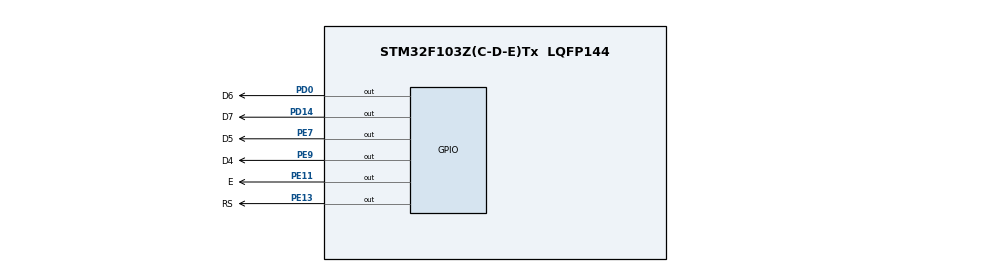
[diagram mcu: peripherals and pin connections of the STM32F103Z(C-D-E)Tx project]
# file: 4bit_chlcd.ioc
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Mcu.Family=STM32F1
Mcu.Name=STM32F103Z(C-D-E)Tx
Mcu.Package=LQFP144
NVIC.PriorityGroup=NVIC_PRIORITYGROUP_4
PA13.Mode=JTAG_5_pins
PA13.Signal=SYS_JTMS-SWDIO
PA14.Mode=JTAG_5_pins
PA14.Signal=SYS_JTCK-SWCLK
PA15.Mode=JTAG_5_pins
PA15.Signal=SYS_JTDI
PB3.Mode=JTAG_5_pins
PB3.Signal=SYS_JTDO-TRACESWO
PB4.Mode=JTAG_5_pins
PB4.Signal=SYS_NJTRST
PD0.GPIO_Label=D6
PD0.GPIO_Speed=GPIO_SPEED_FREQ_MEDIUM
PD0.Signal=GPIO_Output
PD14.GPIO_Label=D7
PD14.GPIO_Speed=GPIO_SPEED_FREQ_MEDIUM
PD14.Signal=GPIO_Output
PE11.GPIO_Label=E
PE11.GPIO_Speed=GPIO_SPEED_FREQ_MEDIUM
PE11.Signal=GPIO_Output
PE13.GPIO_Label=RS
PE13.GPIO_Speed=GPIO_SPEED_FREQ_MEDIUM
PE13.Signal=GPIO_Output
PE7.GPIO_Label=D5
PE7.GPIO_Speed=GPIO_SPEED_FREQ_MEDIUM
PE7.Signal=GPIO_Output
PE9.GPIO_Label=D4
PE9.GPIO_Speed=GPIO_SPEED_FREQ_MEDIUM
PE9.Signal=GPIO_Output
ProjectManager.HeapSize=0x200
ProjectManager.StackSize=0x400
ProjectManager.TargetToolchain=MDK-ARM V5
RCC.APB1Freq_Value=8000000
RCC.APB2Freq_Value=8000000
board=4bit_chlcd

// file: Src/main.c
/**
  ******************************************************************************
  * @file           : main.c
  * @brief          : Main program body
  ******************************************************************************
  ** This notice applies to any and all portions of this file
  * that are not between comment pairs USER CODE BEGIN and
  * USER CODE END. Other portions of this file, whether
  * inserted by the user or by software development tools
  * are owned by their respective copyright owners.
  *
  * COPYRIGHT(c) 2018 STMicroelectronics
  *
  * Redistribution and use in source and binary forms, with or without modification,
  * are permitted provided that the following conditions are met:
  *   1. Redistributions of source code must retain the above copyright notice,
  *      this list of conditions and the following disclaimer.
  *   2. Redistributions in binary form must reproduce the above copyright notice,
  *      this list of conditions and the following disclaimer in the documentation
  *      and/or other materials provided with the distribution.
  *   3. Neither the name of STMicroelectronics nor the names of its contributors
  *      may be used to endorse or promote products derived from this software
  *      without specific prior written permission.
  *
  * THIS SOFTWARE IS PROVIDED BY THE COPYRIGHT HOLDERS AND CONTRIBUTORS "AS IS"
  * AND ANY EXPRESS OR IMPLIED WARRANTIES, INCLUDING, BUT NOT LIMITED TO, THE
  * IMPLIED WARRANTIES OF MERCHANTABILITY AND FITNESS FOR A PARTICULAR PURPOSE ARE
  * DISCLAIMED. IN NO EVENT SHALL THE COPYRIGHT HOLDER OR CONTRIBUTORS BE LIABLE
  * FOR ANY DIRECT, INDIRECT, INCIDENTAL, SPECIAL, EXEMPLARY, OR CONSEQUENTIAL
  * DAMAGES (INCLUDING, BUT NOT LIMITED TO, PROCUREMENT OF SUBSTITUTE GOODS OR
  * SERVICES; LOSS OF USE, DATA, OR PROFITS; OR BUSINESS INTERRUPTION) HOWEVER
  * CAUSED AND ON ANY THEORY OF LIABILITY, WHETHER IN CONTRACT, STRICT LIABILITY,
  * OR TORT (INCLUDING NEGLIGENCE OR OTHERWISE) ARISING IN ANY WAY OUT OF THE USE
  * OF THIS SOFTWARE, EVEN IF ADVISED OF THE POSSIBILITY OF SUCH DAMAGE.
  *
  ******************************************************************************
  */
#include "main.h"
#include "stm32f1xx_hal.h"

/* USER CODE BEGIN PV */
/* Private variables ---------------------------------------------------------*/

/* USER CODE END PV */

void SystemClock_Config(void);
static void MX_GPIO_Init(void);

/* USER CODE BEGIN PFP */
/* Private function prototypes -----------------------------------------------*/

/* USER CODE END PFP */

void send_command(int CMD)
	// RS, HD7, HD6 , HD5, HD4, LD7, LD6 , LD5, LD4
{
		//RS
		if((CMD & 0x100) == 0x100)
			{
				HAL_GPIO_WritePin(GPIOE, RS_Pin, GPIO_PIN_SET);
			}
		else
			{
				HAL_GPIO_WritePin(GPIOE, RS_Pin, GPIO_PIN_RESET);
			}

		//High order D7
		if((CMD & 0x80) == 0x80)
			{
				HAL_GPIO_WritePin(GPIOD, D7_Pin, GPIO_PIN_SET);
			}
		else
			{
				HAL_GPIO_WritePin(GPIOD, D7_Pin, GPIO_PIN_RESET);
			}

		//High order D6
		if((CMD & 0x40) == 0x40)
			{
				HAL_GPIO_WritePin(GPIOD, D6_Pin, GPIO_PIN_SET);
			}
		else
			{
				HAL_GPIO_WritePin(GPIOD, D6_Pin, GPIO_PIN_RESET);
			}

		//High order D5
		if((CMD & 0x20) == 0x20)
			{
				HAL_GPIO_WritePin(GPIOE, D5_Pin, GPIO_PIN_SET);
			}
		else
			{
				HAL_GPIO_WritePin(GPIOE, D5_Pin, GPIO_PIN_RESET);
			}

		//High order D4
		if((CMD & 0x10) == 0x10)
			{
				HAL_GPIO_WritePin(GPIOE, D4_Pin, GPIO_PIN_SET);
			}
		else
			{
				HAL_GPIO_WritePin(GPIOE, D4_Pin, GPIO_PIN_RESET);
			}
		//Send Command by toggle EN pin
		HAL_Delay(1);
		HAL_GPIO_WritePin(GPIOE, E_Pin, GPIO_PIN_SET); //EN High
		HAL_Delay(2);
		HAL_GPIO_WritePin(GPIOE, E_Pin, GPIO_PIN_RESET); //EN Low
		HAL_Delay(10);

		//Turn off All GPIO Pins
		HAL_GPIO_WritePin(GPIOE, D5_Pin|D4_Pin|E_Pin|RS_Pin, GPIO_PIN_RESET);
		HAL_GPIO_WritePin(GPIOD, D7_Pin|D6_Pin, GPIO_PIN_RESET);

		//RS
		if((CMD & 0x100) == 0x100)
			{
				HAL_GPIO_WritePin(GPIOE, RS_Pin, GPIO_PIN_SET);
			}
		else
			{
				HAL_GPIO_WritePin(GPIOE, RS_Pin, GPIO_PIN_RESET);
			}

		//Low order D7
		if((CMD & 0x08) == 0x08)
			{
				HAL_GPIO_WritePin(GPIOD, D7_Pin, GPIO_PIN_SET);
			}
		else
			{
				HAL_GPIO_WritePin(GPIOD, D7_Pin, GPIO_PIN_RESET);
			}

		//High order D6
		if((CMD & 0x04) == 0x04)
			{
				HAL_GPIO_WritePin(GPIOD, D6_Pin, GPIO_PIN_SET);
			}
		else
			{
				HAL_GPIO_WritePin(GPIOD, D6_Pin, GPIO_PIN_RESET);
			}

		//High order D5
		if((CMD & 0x02) == 0x02)
			{
				HAL_GPIO_WritePin(GPIOE, D5_Pin, GPIO_PIN_SET);
			}
		else
			{
				HAL_GPIO_WritePin(GPIOE, D5_Pin, GPIO_PIN_RESET);
			}

		//High order D4
		if((CMD & 0x01) == 0x01)
			{
				HAL_GPIO_WritePin(GPIOE, D4_Pin, GPIO_PIN_SET);
			}
		else
			{
				HAL_GPIO_WritePin(GPIOE, D4_Pin, GPIO_PIN_RESET);
			}
		//Send Command by toggle EN pin
		HAL_Delay(1);
		HAL_GPIO_WritePin(GPIOE, E_Pin, GPIO_PIN_SET); //EN High
		HAL_Delay(2);
		HAL_GPIO_WritePin(GPIOE, E_Pin, GPIO_PIN_RESET); //EN Low
		HAL_Delay(10);

		//Turn off All GPIO Pins
		HAL_GPIO_WritePin(GPIOE, D5_Pin|D4_Pin|E_Pin|RS_Pin, GPIO_PIN_RESET);
		HAL_GPIO_WritePin(GPIOD, D7_Pin|D6_Pin, GPIO_PIN_RESET);

}

int main(void)
{

  /* MCU Configuration----------------------------------------------------------*/

  /* Reset of all peripherals, Initializes the Flash interface and the Systick. */
  HAL_Init();

  /* Configure the system clock */
  SystemClock_Config();

  /* Initialize all configured peripherals */
  MX_GPIO_Init();
  /* USER CODE BEGIN 2 */

		HAL_GPIO_WritePin(GPIOE, D5_Pin|D4_Pin|E_Pin|RS_Pin, GPIO_PIN_RESET);
		HAL_GPIO_WritePin(GPIOD, D7_Pin|D6_Pin, GPIO_PIN_RESET);

		HAL_Delay(500);
		send_command(0x33);
		send_command(0x32);
		//Function set (set font and lines)
		send_command(0x28);

		//On off control
		send_command(0x0E);

		//Entry mode set
		send_command(0x06);

		//Clear LCD
		send_command(0x01);

		//Return Home
		send_command(0x02);

		//Write text to lcd
		send_command(0x148); //H
		send_command(0x145); //E
		send_command(0x14C); //L
		send_command(0x14C); //L
		send_command(0x14F); //O
		send_command(0x1FE); //Space
		send_command(0x157); //W
		send_command(0x14F); //O
		send_command(0x152); //R
		send_command(0x14C); //L
		send_command(0x144); //D

  /* USER CODE END 2 */

  /* Infinite loop */
  while (1)
  {

  }

}

void SystemClock_Config(void)
{

  RCC_OscInitTypeDef RCC_OscInitStruct;
  RCC_ClkInitTypeDef RCC_ClkInitStruct;

    /**Initializes the CPU, AHB and APB busses clocks
    */
  RCC_OscInitStruct.OscillatorType = RCC_OSCILLATORTYPE_HSI;
  RCC_OscInitStruct.HSIState = RCC_HSI_ON;
  RCC_OscInitStruct.HSICalibrationValue = 16;
  RCC_OscInitStruct.PLL.PLLState = RCC_PLL_NONE;
  if (HAL_RCC_OscConfig(&RCC_OscInitStruct) != HAL_OK)
  {
    _Error_Handler(__FILE__, __LINE__);
  }

    /**Initializes the CPU, AHB and APB busses clocks
    */
  RCC_ClkInitStruct.ClockType = RCC_CLOCKTYPE_HCLK|RCC_CLOCKTYPE_SYSCLK
                              |RCC_CLOCKTYPE_PCLK1|RCC_CLOCKTYPE_PCLK2;
  RCC_ClkInitStruct.SYSCLKSource = RCC_SYSCLKSOURCE_HSI;
  RCC_ClkInitStruct.AHBCLKDivider = RCC_SYSCLK_DIV1;
  RCC_ClkInitStruct.APB1CLKDivider = RCC_HCLK_DIV1;
  RCC_ClkInitStruct.APB2CLKDivider = RCC_HCLK_DIV1;

  if (HAL_RCC_ClockConfig(&RCC_ClkInitStruct, FLASH_LATENCY_0) != HAL_OK)
  {
    _Error_Handler(__FILE__, __LINE__);
  }

    /**Configure the Systick interrupt time
    */
  HAL_SYSTICK_Config(HAL_RCC_GetHCLKFreq()/1000);

    /**Configure the Systick
    */
  HAL_SYSTICK_CLKSourceConfig(SYSTICK_CLKSOURCE_HCLK);

  /* SysTick_IRQn interrupt configuration */
  HAL_NVIC_SetPriority(SysTick_IRQn, 0, 0);
}

/** Configure pins as
        * Analog
        * Input
        * Output
        * EVENT_OUT
        * EXTI
*/
static void MX_GPIO_Init(void)
{

  GPIO_InitTypeDef GPIO_InitStruct;

  /* GPIO Ports Clock Enable */
  __HAL_RCC_GPIOE_CLK_ENABLE();
  __HAL_RCC_GPIOD_CLK_ENABLE();
  __HAL_RCC_GPIOA_CLK_ENABLE();
  __HAL_RCC_GPIOB_CLK_ENABLE();

  /*Configure GPIO pin Output Level */
  HAL_GPIO_WritePin(GPIOE, D5_Pin|D4_Pin|E_Pin|RS_Pin, GPIO_PIN_RESET);

  /*Configure GPIO pin Output Level */
  HAL_GPIO_WritePin(GPIOD, D7_Pin|D6_Pin, GPIO_PIN_RESET);

  /*Configure GPIO pins : D5_Pin D4_Pin E_Pin RS_Pin */
  GPIO_InitStruct.Pin = D5_Pin|D4_Pin|E_Pin|RS_Pin;
  GPIO_InitStruct.Mode = GPIO_MODE_OUTPUT_PP;
  GPIO_InitStruct.Speed = GPIO_SPEED_FREQ_MEDIUM;
  HAL_GPIO_Init(GPIOE, &GPIO_InitStruct);

  /*Configure GPIO pins : D7_Pin D6_Pin */
  GPIO_InitStruct.Pin = D7_Pin|D6_Pin;
  GPIO_InitStruct.Mode = GPIO_MODE_OUTPUT_PP;
  GPIO_InitStruct.Speed = GPIO_SPEED_FREQ_MEDIUM;
  HAL_GPIO_Init(GPIOD, &GPIO_InitStruct);

}

void _Error_Handler(char *file, int line)
{
  while(1)
  {
  }
}

/************************ (C) COPYRIGHT STMicroelectronics *****END OF FILE****/
